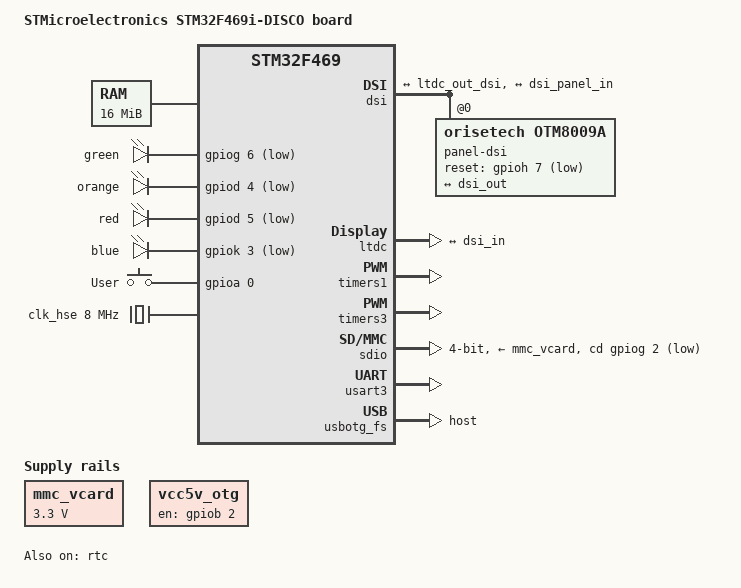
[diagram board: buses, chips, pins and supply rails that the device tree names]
/*
 * Copyright 2016 - Lee Jones <lee.jones@linaro.org>
 *
 * This file is dual-licensed: you can use it either under the terms
 * of the GPL or the X11 license, at your option. Note that this dual
 * licensing only applies to this file, and not this project as a
 * whole.
 *
 *  a) This file is free software; you can redistribute it and/or
 *     modify it under the terms of the GNU General Public License as
 *     published by the Free Software Foundation; either version 2 of the
 *     License, or (at your option) any later version.
 *
 *     This file is distributed in the hope that it will be useful,
 *     but WITHOUT ANY WARRANTY; without even the implied warranty of
 *     MERCHANTABILITY or FITNESS FOR A PARTICULAR PURPOSE.  See the
 *     GNU General Public License for more details.
 *
 *     You should have received a copy of the GNU General Public
 *     License along with this file; if not, write to the Free
 *     Software Foundation, Inc., 51 Franklin St, Fifth Floor, Boston,
 *     MA 02110-1301 USA
 *
 * Or, alternatively,
 *
 *  b) Permission is hereby granted, free of charge, to any person
 *     obtaining a copy of this software and associated documentation
 *     files (the "Software"), to deal in the Software without
 *     restriction, including without limitation the rights to use,
 *     copy, modify, merge, publish, distribute, sublicense, and/or
 *     sell copies of the Software, and to permit persons to whom the
 *     Software is furnished to do so, subject to the following
 *     conditions:
 *
 *     The above copyright notice and this permission notice shall be
 *     included in all copies or substantial portions of the Software.
 *
 *     THE SOFTWARE IS PROVIDED "AS IS", WITHOUT WARRANTY OF ANY KIND,
 *     EXPRESS OR IMPLIED, INCLUDING BUT NOT LIMITED TO THE WARRANTIES
 *     OF MERCHANTABILITY, FITNESS FOR A PARTICULAR PURPOSE AND
 *     NONINFRINGEMENT. IN NO EVENT SHALL THE AUTHORS OR COPYRIGHT
 *     HOLDERS BE LIABLE FOR ANY CLAIM, DAMAGES OR OTHER LIABILITY,
 *     WHETHER IN AN ACTION OF CONTRACT, TORT OR OTHERWISE, ARISING
 *     FROM, OUT OF OR IN CONNECTION WITH THE SOFTWARE OR THE USE OR
 *     OTHER DEALINGS IN THE SOFTWARE.
 */

/dts-v1/;
#include "stm32f469.dtsi"
#include "stm32f469-pinctrl.dtsi"
#include <dt-bindings/gpio/gpio.h>
#include <dt-bindings/input/input.h>

/ {
	model = "STMicroelectronics STM32F469i-DISCO board";
	compatible = "st,stm32f469i-disco", "st,stm32f469";

	chosen {
		bootargs = "root=/dev/ram";
		stdout-path = "serial0:115200n8";
	};

	memory {
		reg = <0x00000000 0x1000000>;
	};

	aliases {
		serial0 = &usart3;
	};

	mmc_vcard: mmc_vcard {
		compatible = "regulator-fixed";
		regulator-name = "mmc_vcard";
		regulator-min-microvolt = <3300000>;
		regulator-max-microvolt = <3300000>;
	};

	soc {
		dma-ranges = <0xc0000000 0x0 0x10000000>;
	};

	leds {
		compatible = "gpio-leds";
		green {
			gpios = <&gpiog 6 GPIO_ACTIVE_LOW>;
			linux,default-trigger = "heartbeat";
		};
		orange {
			gpios = <&gpiod 4 GPIO_ACTIVE_LOW>;
		};
		red {
			gpios = <&gpiod 5 GPIO_ACTIVE_LOW>;
		};
		blue {
			gpios = <&gpiok 3 GPIO_ACTIVE_LOW>;
		};
	};

	gpio_keys {
		compatible = "gpio-keys";
		#address-cells = <1>;
		#size-cells = <0>;
		autorepeat;
		button@0 {
			label = "User";
			linux,code = <KEY_WAKEUP>;
			gpios = <&gpioa 0 GPIO_ACTIVE_HIGH>;
		};
	};

	/* This turns on vbus for otg for host mode (dwc2) */
	vcc5v_otg: vcc5v-otg-regulator {
		compatible = "regulator-fixed";
		enable-active-high;
		gpio = <&gpiob 2 GPIO_ACTIVE_HIGH>;
		regulator-name = "vcc5_host1";
		regulator-always-on;
	};
};

&rcc {
	compatible = "st,stm32f469-rcc", "st,stm32f42xx-rcc", "st,stm32-rcc";
};

&clk_hse {
	clock-frequency = <8000000>;
};

&dsi {
	#address-cells = <1>;
	#size-cells = <0>;
	status = "okay";

	ports {
		#address-cells = <1>;
		#size-cells = <0>;

		port@0 {
			reg = <0>;
			dsi_in: endpoint {
				remote-endpoint = <&ltdc_out_dsi>;
			};
		};

		port@1 {
			reg = <1>;
			dsi_out: endpoint {
				remote-endpoint = <&dsi_panel_in>;
			};
		};
	};

	panel-dsi@0 {
		compatible = "orisetech,otm8009a";
		reg = <0>; /* dsi virtual channel (0..3) */
		reset-gpios = <&gpioh 7 GPIO_ACTIVE_LOW>;
		status = "okay";

		port {
			dsi_panel_in: endpoint {
				remote-endpoint = <&dsi_out>;
			};
		};
	};
};

&ltdc {
	dma-ranges;
	status = "okay";

	port {
		ltdc_out_dsi: endpoint@0 {
			remote-endpoint = <&dsi_in>;
		};
	};
};

&rtc {
	status = "okay";
};

&timers1 {
	status = "okay";

	pwm {
		pinctrl-0 = <&pwm1_pins>;
		pinctrl-names = "default";
		status = "okay";
	};

	timer@0 {
		status = "okay";
	};
};

&timers3 {
	status = "okay";

	pwm {
		pinctrl-0 = <&pwm3_pins>;
		pinctrl-names = "default";
		status = "okay";
	};

	timer@2 {
		status = "okay";
	};
};

&sdio {
	status = "okay";
	vmmc-supply = <&mmc_vcard>;
	cd-gpios = <&gpiog 2 GPIO_ACTIVE_LOW>;
	broken-cd;
	pinctrl-names = "default", "opendrain";
	pinctrl-0 = <&sdio_pins>;
	pinctrl-1 = <&sdio_pins_od>;
	bus-width = <4>;
};

&usart3 {
	pinctrl-0 = <&usart3_pins_a>;
	pinctrl-names = "default";
	status = "okay";
};

&usbotg_fs {
	dr_mode = "host";
	pinctrl-0 = <&usbotg_fs_pins_a>;
	pinctrl-names = "default";
	status = "okay";
};
